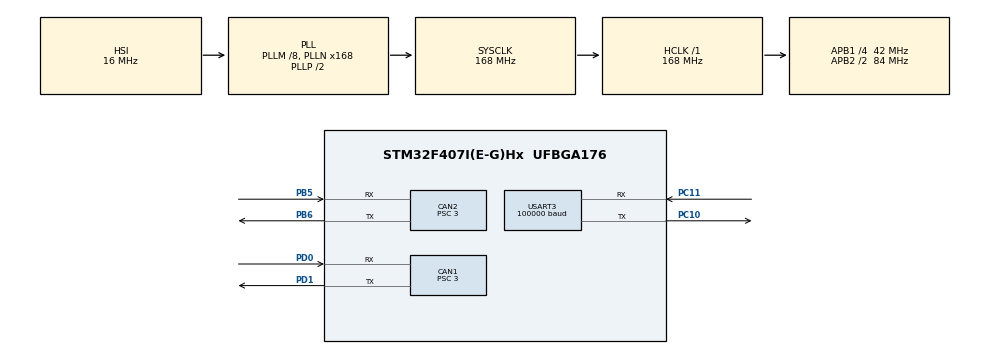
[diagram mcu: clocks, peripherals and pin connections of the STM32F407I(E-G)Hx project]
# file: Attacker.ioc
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CAN1.BS1=CAN_BS1_10TQ
CAN1.BS2=CAN_BS2_3TQ
CAN1.CalculateBaudRate=1000000
CAN1.CalculateTimeBit=1000
CAN1.CalculateTimeQuantum=71.42857142857143
CAN1.Prescaler=3
CAN2.BS1=CAN_BS1_10TQ
CAN2.BS2=CAN_BS2_3TQ
CAN2.CalculateBaudRate=1000000
CAN2.CalculateTimeBit=1000
CAN2.CalculateTimeQuantum=71.42857142857143
CAN2.Prescaler=3
Dma.Request0=USART3_RX
Dma.USART3_RX.0.Direction=DMA_PERIPH_TO_MEMORY
Dma.USART3_RX.0.FIFOMode=DMA_FIFOMODE_DISABLE
Dma.USART3_RX.0.Instance=DMA1_Stream1
Dma.USART3_RX.0.MemDataAlignment=DMA_MDATAALIGN_BYTE
Dma.USART3_RX.0.MemInc=DMA_MINC_ENABLE
Dma.USART3_RX.0.Mode=DMA_CIRCULAR
Dma.USART3_RX.0.PeriphDataAlignment=DMA_PDATAALIGN_BYTE
Dma.USART3_RX.0.PeriphInc=DMA_PINC_DISABLE
Dma.USART3_RX.0.Priority=DMA_PRIORITY_VERY_HIGH
Mcu.Family=STM32F4
Mcu.Name=STM32F407I(E-G)Hx
Mcu.Package=UFBGA176
NVIC.CAN1_RX0_IRQn=true\:0\:0\:false\:false\:true\:true\:true\:true
NVIC.CAN2_RX0_IRQn=true\:0\:0\:false\:false\:true\:true\:true\:true
NVIC.DMA1_Stream1_IRQn=true\:0\:0\:false\:false\:true\:false\:true\:true
NVIC.PriorityGroup=NVIC_PRIORITYGROUP_4
NVIC.TIM2_IRQn=true\:0\:0\:false\:false\:true\:true\:true\:true
NVIC.USART3_IRQn=true\:0\:0\:false\:false\:true\:true\:true\:true
PA13.Mode=Serial_Wire
PA13.Signal=SYS_JTMS-SWDIO
PA14.Mode=Serial_Wire
PA14.Signal=SYS_JTCK-SWCLK
PB5.Mode=CAN_Activate
PB5.Signal=CAN2_RX
PB6.Mode=CAN_Activate
PB6.Signal=CAN2_TX
PC10.Mode=Asynchronous
PC10.Signal=USART3_TX
PC11.Mode=Asynchronous
PC11.Signal=USART3_RX
PD0.Mode=CAN_Activate
PD0.Signal=CAN1_RX
PD1.Mode=CAN_Activate
PD1.Signal=CAN1_TX
PH0-OSC_IN.Mode=HSE-External-Oscillator
PH0-OSC_IN.Signal=RCC_OSC_IN
PH1-OSC_OUT.Mode=HSE-External-Oscillator
PH1-OSC_OUT.Signal=RCC_OSC_OUT
ProjectManager.HeapSize=0x200
ProjectManager.StackSize=0x400
ProjectManager.TargetToolchain=MDK-ARM V5.32
RCC.48MHZClocksFreq_Value=84000000
RCC.AHBFreq_Value=168000000
RCC.APB1CLKDivider=RCC_HCLK_DIV4
RCC.APB1Freq_Value=42000000
RCC.APB1TimFreq_Value=84000000
RCC.APB2CLKDivider=RCC_HCLK_DIV2
RCC.APB2Freq_Value=84000000
RCC.APB2TimFreq_Value=168000000
RCC.CortexFreq_Value=168000000
RCC.HCLKFreq_Value=168000000
RCC.HSE_VALUE=25000000
RCC.HSI_VALUE=16000000
RCC.LSE_VALUE=32768
RCC.PLLM=8
RCC.PLLN=168
RCC.SYSCLKFreq_VALUE=168000000
RCC.SYSCLKSource=RCC_SYSCLKSOURCE_PLLCLK
RCC.VCOOutputFreq_Value=336000000
TIM2.AutoReloadPreload=TIM_AUTORELOAD_PRELOAD_ENABLE
TIM2.Period=16799
TIM2.Prescaler=99
USART3.BaudRate=100000
USART3.Parity=PARITY_EVEN
USART3.VirtualMode=VM_ASYNC
USART3.WordLength=WORDLENGTH_9B
VP_TIM2_VS_ClockSourceINT.Mode=Internal
board=custom

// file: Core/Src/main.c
/* USER CODE BEGIN Header */
/**
  ******************************************************************************
  * @file           : main.c
  * @brief          : Main program body
  ******************************************************************************
  * @attention
  *
  * Copyright (c) 2025 STMicroelectronics.
  * All rights reserved.
  *
  * This software is licensed under terms that can be found in the LICENSE file
  * in the root directory of this software component.
  * If no LICENSE file comes with this software, it is provided AS-IS.
  *
  ******************************************************************************
  */
/* USER CODE END Header */
#include "main.h"
#include "can.h"
#include "dma.h"
#include "tim.h"
#include "usart.h"
#include "gpio.h"

/* USER CODE BEGIN Includes */
#include "pid.h"
#include "bsp_can.h"
#include "can3508.h"
#include "bsp_sbus.h"
/* USER CODE END Includes */

/* USER CODE BEGIN PV */
int16_t current_cmd[4]={0}, shovel_cmd = 0;
/* USER CODE END PV */

void SystemClock_Config(void);

int main(void)
{

  /* MCU Configuration--------------------------------------------------------*/

  /* Reset of all peripherals, Initializes the Flash interface and the Systick. */
  HAL_Init();

  /* Configure the system clock */
  SystemClock_Config();

  /* Initialize all configured peripherals */
  MX_GPIO_Init();
  MX_DMA_Init();
  MX_CAN1_Init();
  MX_USART3_UART_Init();
  MX_TIM2_Init();
  MX_CAN2_Init();
  /* USER CODE BEGIN 2 */
	CAN_Filter_Init();

	for (int i = 0; i <= 3; i++)
	{
		PID_Init(&pid_chassis_motor[i],8.0f,0.5f,0.0f,0.0f);
		pid_chassis_motor[i].Target = 0;
		PID_SetOutputLimit(&pid_chassis_motor[i],8192);
		PID_SetIntegralLimit(&pid_chassis_motor[i],4096);
	}
	PID_Init(&pid_shovel_motor,5.0f,0.01f,0.0f,0.0f);
	pid_shovel_motor.Target = 0;
	PID_SetOutputLimit(&pid_shovel_motor,4096);
	PID_SetIntegralLimit(&pid_shovel_motor,4096);

	HAL_TIM_Base_Start_IT(&htim2);
	SBUS_Init();
  /* USER CODE END 2 */

  /* Infinite loop */
  while (1)
  {

  }
}

void SystemClock_Config(void)
{
  RCC_OscInitTypeDef RCC_OscInitStruct = {0};
  RCC_ClkInitTypeDef RCC_ClkInitStruct = {0};

  /** Configure the main internal regulator output voltage
  */
  __HAL_RCC_PWR_CLK_ENABLE();
  __HAL_PWR_VOLTAGESCALING_CONFIG(PWR_REGULATOR_VOLTAGE_SCALE1);

  /** Initializes the RCC Oscillators according to the specified parameters
  * in the RCC_OscInitTypeDef structure.
  */
  RCC_OscInitStruct.OscillatorType = RCC_OSCILLATORTYPE_HSI;
  RCC_OscInitStruct.HSIState = RCC_HSI_ON;
  RCC_OscInitStruct.HSICalibrationValue = RCC_HSICALIBRATION_DEFAULT;
  RCC_OscInitStruct.PLL.PLLState = RCC_PLL_ON;
  RCC_OscInitStruct.PLL.PLLSource = RCC_PLLSOURCE_HSI;
  RCC_OscInitStruct.PLL.PLLM = 8;
  RCC_OscInitStruct.PLL.PLLN = 168;
  RCC_OscInitStruct.PLL.PLLP = RCC_PLLP_DIV2;
  RCC_OscInitStruct.PLL.PLLQ = 4;
  if (HAL_RCC_OscConfig(&RCC_OscInitStruct) != HAL_OK)
  {
    Error_Handler();
  }

  /** Initializes the CPU, AHB and APB buses clocks
  */
  RCC_ClkInitStruct.ClockType = RCC_CLOCKTYPE_HCLK|RCC_CLOCKTYPE_SYSCLK
                              |RCC_CLOCKTYPE_PCLK1|RCC_CLOCKTYPE_PCLK2;
  RCC_ClkInitStruct.SYSCLKSource = RCC_SYSCLKSOURCE_PLLCLK;
  RCC_ClkInitStruct.AHBCLKDivider = RCC_SYSCLK_DIV1;
  RCC_ClkInitStruct.APB1CLKDivider = RCC_HCLK_DIV4;
  RCC_ClkInitStruct.APB2CLKDivider = RCC_HCLK_DIV2;

  if (HAL_RCC_ClockConfig(&RCC_ClkInitStruct, FLASH_LATENCY_5) != HAL_OK)
  {
    Error_Handler();
  }
}

/* USER CODE BEGIN 4 */
void HAL_TIM_PeriodElapsedCallback(TIM_HandleTypeDef *htim)
{
		for (int i = 0; i <= 3; i++)
				current_cmd[i]= 0;
		shovel_cmd = 0;
    if (htim->Instance == TIM2)
		{
				SBUS_Handle();
				for (int i = 0; i <= 3; i++)
						current_cmd[i] = PID_Calculate(&pid_chassis_motor[i], pid_chassis_motor[i].Target,pid_chassis_motor[i].Now,0.001);
        CAN3508_Chassis_TransmitCurrent(current_cmd[0],current_cmd[1],current_cmd[2],current_cmd[3]);
				shovel_cmd = PID_Calculate(&pid_shovel_motor,pid_shovel_motor.Target,pid_shovel_motor.Now,0.001);
				CAN3508_Shovel_TransmitCurrent(shovel_cmd);
    }
}
/* USER CODE END 4 */

void Error_Handler(void)
{
  __disable_irq();
  while (1)
  {
  }
}
